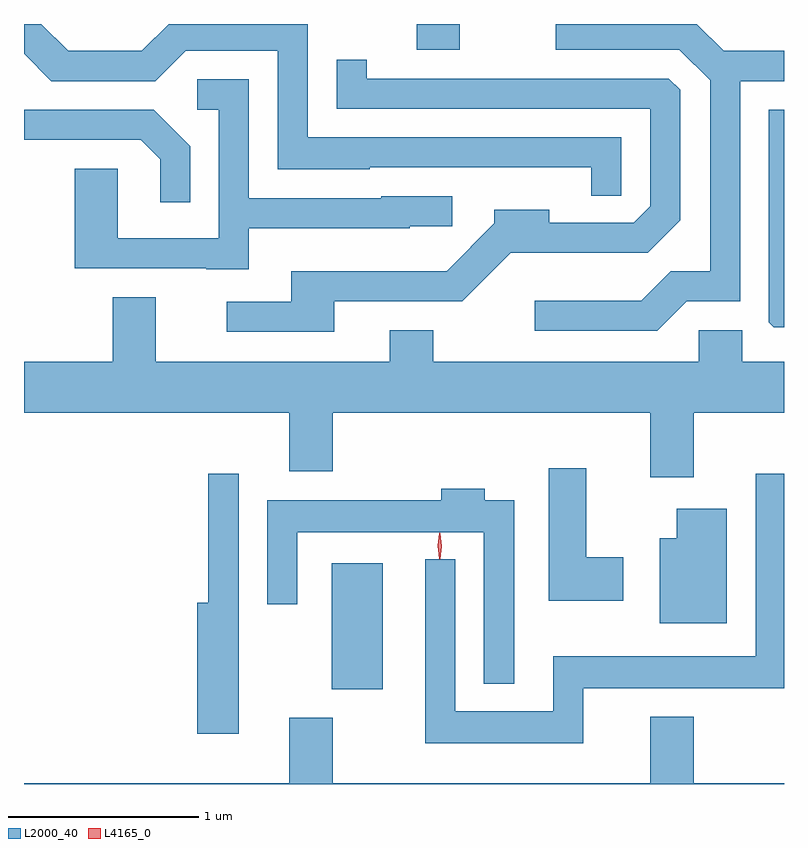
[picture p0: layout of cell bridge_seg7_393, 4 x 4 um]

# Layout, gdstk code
import gdstk
lib = gdstk.Library(unit=1e-6, precision=1e-09)
def R(c, l, rs):  # rectangles x0, y0, x1, y1
    for r in rs: c.add(gdstk.rectangle(r[:2], r[2:], *l))
def P(c, l, *ps):  # polygons
    for p in ps: c.add(gdstk.Polygon(p, *l))
L2000_40 = (2000, 40)
L4165_0 = (4165, 0)

bridge_seg7_393 = lib.new_cell('bridge_seg7_393')
R(bridge_seg7_393, L2000_40, [(1071.446,1741.721,1071.714,1742.384), (1071.891,1745.086,1072.119,1745.221)])
P(bridge_seg7_393, L2000_40, [(1072.969,1744.624),(1071.319,1744.624),(1071.319,1745.221),(1070.586,1745.221),(1070.444,1745.079),(1070.057,1745.079),(1069.915,1745.221),(1069.825,1745.221),(1069.825,1745.065),(1069.969,1744.921),(1070.517,1744.921),(1070.677,1745.081),(1071.161,1745.081),(1071.161,1744.456),(1071.645,1744.456),(1071.645,1744.466),(1072.811,1744.466),(1072.811,1744.318),(1072.969,1744.318)],
  [(1073.312,1743.761),(1073.594,1743.761),(1073.594,1744.921),(1073.825,1744.921),(1073.825,1745.079),(1073.507,1745.079),(1073.365,1745.221),(1072.623,1745.221),(1072.623,1745.086),(1073.274,1745.086),(1073.436,1744.924),(1073.436,1743.919),(1073.229,1743.919),(1073.074,1743.764),(1072.513,1743.764),(1072.513,1743.606),(1073.157,1743.606)],
  [(1071.459,1743.761),(1072.132,1743.761),(1072.387,1744.016),(1073.107,1744.016),(1073.279,1744.189),(1073.279,1744.874),(1073.219,1744.934),(1071.629,1744.934),(1071.629,1745.033),(1071.471,1745.033),(1071.471,1744.776),(1073.121,1744.776),(1073.121,1744.262),(1073.034,1744.174),(1072.589,1744.174),(1072.589,1744.244),(1072.301,1744.244),(1072.301,1744.172),(1072.049,1743.919),(1071.231,1743.919),(1071.231,1743.759),(1070.893,1743.759),(1070.893,1743.601),(1071.459,1743.601)],
  [(1071.009,1744.146),(1071.855,1744.146),(1071.855,1744.156),(1072.078,1744.156),(1072.078,1744.314),(1071.705,1744.314),(1071.705,1744.304),(1071.009,1744.304),(1071.009,1744.929),(1070.738,1744.929),(1070.738,1744.771),(1070.851,1744.771),(1070.851,1744.094),(1070.319,1744.094),(1070.319,1744.459),(1070.091,1744.459),(1070.091,1743.936),(1070.785,1743.936),(1070.785,1743.931),(1071.009,1743.931)],
  [(1073.825,1744.769),(1073.746,1744.769),(1073.746,1743.652),(1073.772,1743.626),(1073.825,1743.626)],
  [(1070.699,1744.577),(1070.507,1744.769),(1069.825,1744.769),(1069.825,1744.611),(1070.439,1744.611),(1070.541,1744.509),(1070.541,1744.283),(1070.699,1744.283)],
  [(1073.349,1743.176),(1073.825,1743.176),(1073.825,1743.444),(1073.604,1743.444),(1073.604,1743.609),(1073.376,1743.609),(1073.376,1743.444),(1071.979,1743.444),(1071.979,1743.609),(1071.751,1743.609),(1071.751,1743.444),(1070.519,1743.444),(1070.519,1743.784),(1070.291,1743.784),(1070.291,1743.444),(1069.825,1743.444),(1069.825,1743.176),(1071.221,1743.176),(1071.221,1742.866),(1071.449,1742.866),(1071.449,1743.176),(1073.121,1743.176),(1073.121,1742.836),(1073.349,1742.836)],
  [(1072.979,1742.414),(1072.784,1742.414),(1072.784,1742.884),(1072.586,1742.884),(1072.586,1742.186),(1072.979,1742.186)],
  [(1072.769,1741.726),(1073.825,1741.726),(1073.825,1742.853),(1073.676,1742.853),(1073.676,1741.894),(1072.611,1741.894),(1072.611,1741.604),(1072.094,1741.604),(1072.094,1742.403),(1071.936,1742.403),(1071.936,1741.436),(1072.769,1741.436)],
  [(1070.954,1742.853),(1070.796,1742.853),(1070.796,1742.174),(1070.736,1742.174),(1070.736,1741.486),(1070.954,1741.486)],
  [(1072.404,1742.714),(1072.249,1742.714),(1072.249,1742.774),(1072.021,1742.774),(1072.021,1742.714),(1071.106,1742.714),(1071.106,1742.168),(1071.264,1742.168),(1071.264,1742.546),(1072.246,1742.546),(1072.246,1741.748),(1072.404,1741.748)],
  [(1073.524,1742.669),(1073.261,1742.669),(1073.261,1742.514),(1073.171,1742.514),(1073.171,1742.066),(1073.524,1742.066)],
  [(1073.825,1741.224),(1073.349,1741.224),(1073.349,1741.574),(1073.121,1741.574),(1073.121,1741.224),(1071.449,1741.224),(1071.449,1741.569),(1071.221,1741.569),(1071.221,1741.224),(1069.825,1741.224),(1069.825,1741.221),(1073.825,1741.221)])
P(bridge_seg7_393, L4165_0, [(1072.011,1742.407),(1072.002,1742.474),(1072.011,1742.54),(1072.012,1742.54),(1072.012,1742.54),(1072.022,1742.474),(1072.012,1742.407),(1072.012,1742.407)],
  [(1072.014,1742.404),(1072.014,1742.404),(1072.004,1742.473),(1072.014,1742.542),(1072.014,1742.543),(1072.015,1742.542),(1072.024,1742.473),(1072.015,1742.404)])

lib.write_gds('bridge_seg7_393.gds')
